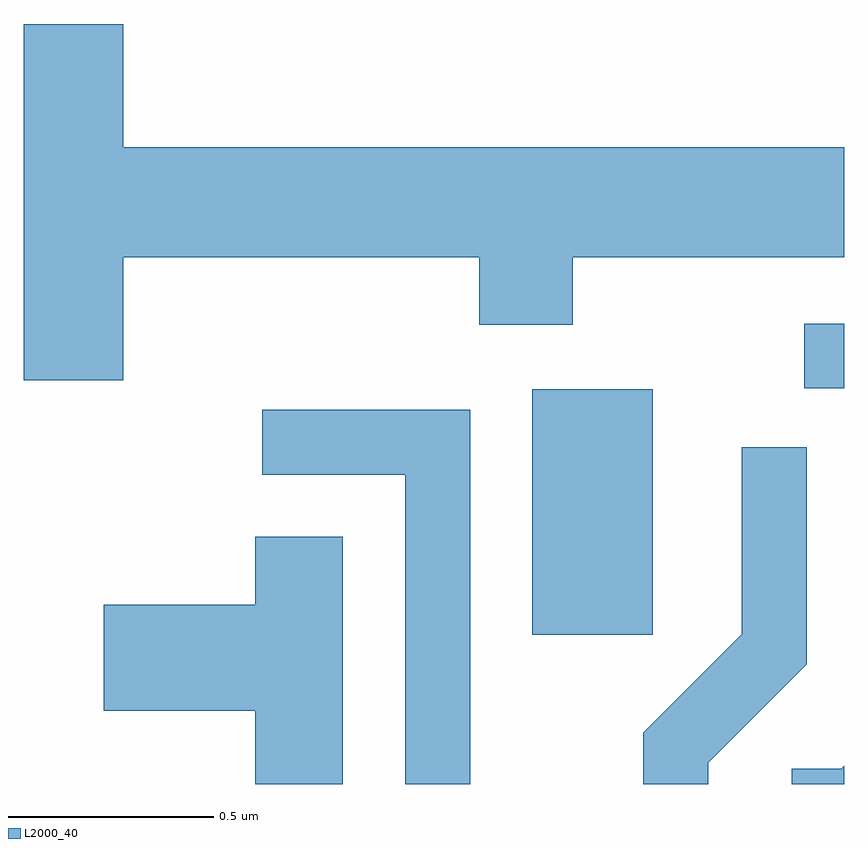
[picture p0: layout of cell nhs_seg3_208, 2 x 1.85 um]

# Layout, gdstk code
import gdstk
lib = gdstk.Library(unit=1e-6, precision=1e-09)
def R(c, l, rs):  # rectangles x0, y0, x1, y1
    for r in rs: c.add(gdstk.rectangle(r[:2], r[2:], *l))
def P(c, l, *ps):  # polygons
    for p in ps: c.add(gdstk.Polygon(p, *l))
L2000_40 = (2000, 40)

nhs_seg3_208 = lib.new_cell('nhs_seg3_208')
R(nhs_seg3_208, L2000_40, [(187.851,1187.256,188.144,1187.854), (188.513,1187.856,188.611,1188.014)])
P(nhs_seg3_208, L2000_40, [(186.854,1188.176),(187.721,1188.176),(187.721,1188.011),(187.949,1188.011),(187.949,1188.176),(188.611,1188.176),(188.611,1188.444),(186.854,1188.444),(186.854,1188.744),(186.611,1188.744),(186.611,1187.876),(186.854,1187.876)],
  [(187.699,1187.804),(187.193,1187.804),(187.193,1187.646),(187.541,1187.646),(187.541,1186.892),(187.699,1186.892)],
  [(188.279,1186.944),(188.519,1187.184),(188.519,1187.713),(188.361,1187.713),(188.361,1187.257),(188.121,1187.017),(188.121,1186.892),(188.279,1186.892)],
  [(187.389,1187.494),(187.176,1187.494),(187.176,1187.329),(186.806,1187.329),(186.806,1187.071),(187.176,1187.071),(187.176,1186.892),(187.389,1186.892)],
  [(188.611,1186.936),(188.604,1186.929),(188.483,1186.929),(188.483,1186.892),(188.611,1186.892)])

lib.write_gds('nhs_seg3_208.gds')
